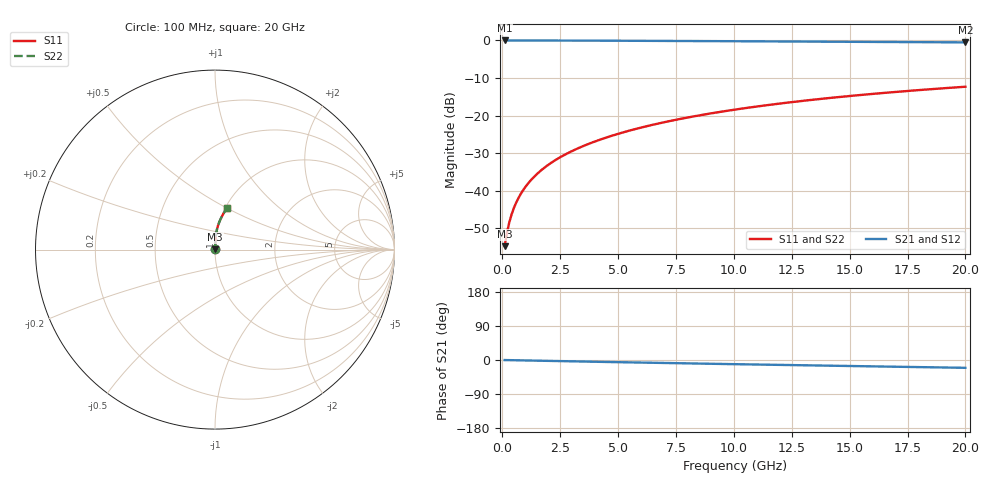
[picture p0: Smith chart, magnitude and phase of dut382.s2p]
! Touchstone file exported from HFSS 2024.1.0
!  File:  C:/UserFiles/LocalFiles/RDL_TSV_Batchsim/temp_RDL_bottom_382_1779613884.aedt
!  Generated:  05:14:30 PM May 24, 2026
!  Design:  RDL_bottom
!  Project:  temp_RDL_bottom_382_1779613884
!  Setup:  Setup1
!  Solution:  Sweep
! Variables:
!  dtsv = 10.80580581um
!  hbump = 3um
!  htsv = 84.93um
!  ldown = 228.05um
!  lrdl = 100um
!  p = 40
!  p1 = 59.34um
!  rhole = 1um
!  t = 450um
!  tdown = 3.2um
!  trdl = 3.915915916um
!  wdown = 21.71um
!  wrdl = 20um
# GHz S MA R 50.000000
! Terminal data exported
! Port[1] = RDL1_T1
! Port[2] = RDL1_T2
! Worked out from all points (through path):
!   200 points, 100 MHz to 20 GHz, reference 50 ohm
!   highest |S21| = -0.01 dB at 100 MHz (marker M1); lowest = -0.5 dB at 20 GHz (marker M2)
!   group delay of S21, straight-line fit = 2.84 ps
!   lowest |S11| = -54.8 dB at 100 MHz (marker M3), VSWR 1.00, Z = 50.1 + j0.118 ohm
!   |S11| at or under -10 dB: start of sweep to end of sweep
!   |S22| runs from -54.8 to -12.3 dB; largest |S21 - S12| = 4.9e-15
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0.1  0.001829 40.1  0.9986 -0.1  0.9986 -0.1  0.001829 40.1
! Gamma 0 0 0 0
! Port Impedance 50 0 50 0
0.2  0.002745 58.2  0.9985 -0.2  0.9985 -0.2  0.002745 58.2
0.3  0.003773 66.6  0.9985 -0.4  0.9985 -0.4  0.003773 66.6
0.4  0.004826 71.3  0.9984 -0.5  0.9984 -0.5  0.004826 71.3
0.5  0.005886 74.4  0.9983 -0.6  0.9983 -0.6  0.005886 74.4
0.6  0.00695 76.6  0.9982 -0.7  0.9982 -0.7  0.00695 76.6
0.8  0.009094 79.6  0.9981 -1.0  0.9981 -1.0  0.009094 79.6
1.1  0.01234 82.2  0.9979 -1.3  0.9979 -1.3  0.01234 82.2
1.5  0.01673 84.2  0.9975 -1.8  0.9975 -1.8  0.01673 84.2
1.8  0.02005 85.2  0.9971 -2.1  0.9971 -2.1  0.02005 85.2
2.1  0.02339 85.8  0.9967 -2.5  0.9967 -2.5  0.02339 85.8
2.7  0.03016 86.7  0.9957 -3.2  0.9957 -3.2  0.03016 86.7
3.5  0.03936 87.3  0.9941 -4.1  0.9941 -4.1  0.03936 87.3
4.2  0.04756 87.4  0.9925 -4.9  0.9925 -4.9  0.04756 87.4
5  0.05711 87.4  0.9905 -5.7  0.9905 -5.7  0.05711 87.4
5.9  0.06805 87.1  0.988 -6.7  0.988 -6.7  0.06805 87.1
6.8  0.07917 86.6  0.9853 -7.7  0.9853 -7.7  0.07917 86.6
8.4  0.09921 85.4  0.9804 -9.4  0.9804 -9.4  0.09921 85.4
10.1  0.1207 83.9  0.975 -11.1  0.975 -11.1  0.1207 83.9
13.4  0.1623 80.5  0.9643 -14.3  0.9643 -14.3  0.1623 80.5
16.7  0.2028 77.1  0.9531 -17.5  0.9531 -17.5  0.2028 77.1
20  0.2419 73.6  0.9414 -20.6  0.9414 -20.6  0.2419 73.6
